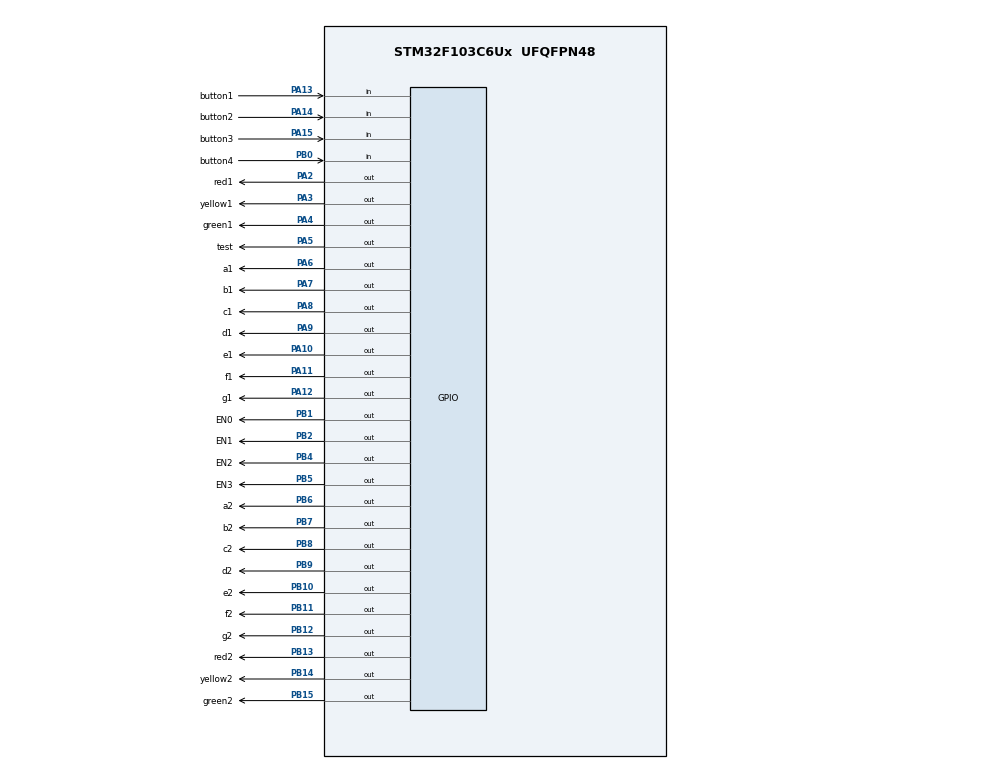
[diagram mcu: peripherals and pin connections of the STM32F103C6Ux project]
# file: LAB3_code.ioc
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Mcu.Family=STM32F1
Mcu.Name=STM32F103C6Ux
Mcu.Package=UFQFPN48
NVIC.PriorityGroup=NVIC_PRIORITYGROUP_4
NVIC.TIM2_IRQn=true\:0\:0\:false\:false\:true\:true\:true
PA10.GPIO_Label=e1
PA10.Signal=GPIO_Output
PA11.GPIO_Label=f1
PA11.Signal=GPIO_Output
PA12.GPIO_Label=g1
PA12.Signal=GPIO_Output
PA13.GPIO_Label=button1
PA13.GPIO_PuPd=GPIO_PULLUP
PA13.Signal=GPIO_Input
PA14.GPIO_Label=button2
PA14.GPIO_PuPd=GPIO_PULLUP
PA14.Signal=GPIO_Input
PA15.GPIO_Label=button3
PA15.GPIO_PuPd=GPIO_PULLUP
PA15.Signal=GPIO_Input
PA2.GPIO_Label=red1
PA2.Signal=GPIO_Output
PA3.GPIO_Label=yellow1
PA3.Signal=GPIO_Output
PA4.GPIO_Label=green1
PA4.Signal=GPIO_Output
PA5.GPIO_Label=test
PA5.Signal=GPIO_Output
PA6.GPIO_Label=a1
PA6.Signal=GPIO_Output
PA7.GPIO_Label=b1
PA7.Signal=GPIO_Output
PA8.GPIO_Label=c1
PA8.Signal=GPIO_Output
PA9.GPIO_Label=d1
PA9.Signal=GPIO_Output
PB0.GPIO_Label=button4
PB0.GPIO_PuPd=GPIO_PULLUP
PB0.Signal=GPIO_Input
PB1.GPIO_Label=EN0
PB1.Signal=GPIO_Output
PB10.GPIO_Label=e2
PB10.Signal=GPIO_Output
PB11.GPIO_Label=f2
PB11.Signal=GPIO_Output
PB12.GPIO_Label=g2
PB12.Signal=GPIO_Output
PB13.GPIO_Label=red2
PB13.Signal=GPIO_Output
PB14.GPIO_Label=yellow2
PB14.Signal=GPIO_Output
PB15.GPIO_Label=green2
PB15.Signal=GPIO_Output
PB2.GPIO_Label=EN1
PB2.Signal=GPIO_Output
PB4.GPIO_Label=EN2
PB4.Signal=GPIO_Output
PB5.GPIO_Label=EN3
PB5.Signal=GPIO_Output
PB6.GPIO_Label=a2
PB6.Signal=GPIO_Output
PB7.GPIO_Label=b2
PB7.Signal=GPIO_Output
PB8.GPIO_Label=c2
PB8.Signal=GPIO_Output
PB9.GPIO_Label=d2
PB9.Signal=GPIO_Output
ProjectManager.HeapSize=0x200
ProjectManager.StackSize=0x400
ProjectManager.TargetToolchain=STM32CubeIDE
RCC.APB1Freq_Value=8000000
RCC.APB2Freq_Value=8000000
TIM2.Period=9
TIM2.Prescaler=7999
VP_SYS_VS_ND.Mode=No_Debug
VP_TIM2_VS_ClockSourceINT.Mode=Internal
board=custom

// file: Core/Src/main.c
/* USER CODE BEGIN Header */
/**
  ******************************************************************************
  * @file           : main.c
  * @brief          : Main program body
  ******************************************************************************
  * @attention
  *
  * <h2><center>&copy; Copyright (c) 2024 STMicroelectronics.
  * All rights reserved.</center></h2>
  *
  * This software component is licensed by ST under BSD 3-Clause license,
  * the "License"; You may not use this file except in compliance with the
  * License. You may obtain a copy of the License at:
  *                        opensource.org/licenses/BSD-3-Clause
  *
  ******************************************************************************
  */
/* USER CODE END Header */
#include "main.h"

/* USER CODE BEGIN Includes */
#include "software_timer.h"
#include "button.h"
#include "7SEG.h"
#include "fsm_auto.h"
#include "fsm_manual.h"
/* USER CODE END Includes */

TIM_HandleTypeDef htim2;

void SystemClock_Config(void);
static void MX_GPIO_Init(void);
static void MX_TIM2_Init(void);

int main(void)
{

  /* MCU Configuration--------------------------------------------------------*/

  /* Reset of all peripherals, Initializes the Flash interface and the Systick. */
  HAL_Init();

  /* Configure the system clock */
  SystemClock_Config();

  /* Initialize all configured peripherals */
  MX_GPIO_Init();
  MX_TIM2_Init();
  /* USER CODE BEGIN 2 */
  HAL_TIM_Base_Start_IT(&htim2);
  /* USER CODE END 2 */

  /* Infinite loop */
  /* USER CODE BEGIN WHILE */
  setTimerTest(1000);
  setTimer7SEGCountHorizontal(1000);
  setTimer7SEGCountVertical(1000);
  setTimerENhorizontal(500);
  setTimerENvertical(500);

  while (1)
  {
	  if(timerTest_flag == 1)
	  {
		  HAL_GPIO_TogglePin(test_GPIO_Port, test_Pin);

		  setTimerTest(1000);
	  }

	  fsm_manual();

	  fsm_automatic();

	  display7SEGFinal();

    /* USER CODE END WHILE */

  }
}

void SystemClock_Config(void)
{
  RCC_OscInitTypeDef RCC_OscInitStruct = {0};
  RCC_ClkInitTypeDef RCC_ClkInitStruct = {0};

  /** Initializes the RCC Oscillators according to the specified parameters
  * in the RCC_OscInitTypeDef structure.
  */
  RCC_OscInitStruct.OscillatorType = RCC_OSCILLATORTYPE_HSI;
  RCC_OscInitStruct.HSIState = RCC_HSI_ON;
  RCC_OscInitStruct.HSICalibrationValue = RCC_HSICALIBRATION_DEFAULT;
  RCC_OscInitStruct.PLL.PLLState = RCC_PLL_NONE;
  if (HAL_RCC_OscConfig(&RCC_OscInitStruct) != HAL_OK)
  {
    Error_Handler();
  }
  /** Initializes the CPU, AHB and APB buses clocks
  */
  RCC_ClkInitStruct.ClockType = RCC_CLOCKTYPE_HCLK|RCC_CLOCKTYPE_SYSCLK
                              |RCC_CLOCKTYPE_PCLK1|RCC_CLOCKTYPE_PCLK2;
  RCC_ClkInitStruct.SYSCLKSource = RCC_SYSCLKSOURCE_HSI;
  RCC_ClkInitStruct.AHBCLKDivider = RCC_SYSCLK_DIV1;
  RCC_ClkInitStruct.APB1CLKDivider = RCC_HCLK_DIV1;
  RCC_ClkInitStruct.APB2CLKDivider = RCC_HCLK_DIV1;

  if (HAL_RCC_ClockConfig(&RCC_ClkInitStruct, FLASH_LATENCY_0) != HAL_OK)
  {
    Error_Handler();
  }
}

static void MX_TIM2_Init(void)
{

  TIM_ClockConfigTypeDef sClockSourceConfig = {0};
  TIM_MasterConfigTypeDef sMasterConfig = {0};

  htim2.Instance = TIM2;
  htim2.Init.Prescaler = 7999;
  htim2.Init.CounterMode = TIM_COUNTERMODE_UP;
  htim2.Init.Period = 9;
  htim2.Init.ClockDivision = TIM_CLOCKDIVISION_DIV1;
  htim2.Init.AutoReloadPreload = TIM_AUTORELOAD_PRELOAD_DISABLE;
  if (HAL_TIM_Base_Init(&htim2) != HAL_OK)
  {
    Error_Handler();
  }
  sClockSourceConfig.ClockSource = TIM_CLOCKSOURCE_INTERNAL;
  if (HAL_TIM_ConfigClockSource(&htim2, &sClockSourceConfig) != HAL_OK)
  {
    Error_Handler();
  }
  sMasterConfig.MasterOutputTrigger = TIM_TRGO_RESET;
  sMasterConfig.MasterSlaveMode = TIM_MASTERSLAVEMODE_DISABLE;
  if (HAL_TIMEx_MasterConfigSynchronization(&htim2, &sMasterConfig) != HAL_OK)
  {
    Error_Handler();
  }

}

static void MX_GPIO_Init(void)
{
  GPIO_InitTypeDef GPIO_InitStruct = {0};

  /* GPIO Ports Clock Enable */
  __HAL_RCC_GPIOA_CLK_ENABLE();
  __HAL_RCC_GPIOB_CLK_ENABLE();

  /*Configure GPIO pin Output Level */
  HAL_GPIO_WritePin(GPIOA, red1_Pin|yellow1_Pin|green1_Pin|test_Pin
                          |a1_Pin|b1_Pin|c1_Pin|d1_Pin
                          |e1_Pin|f1_Pin|g1_Pin, GPIO_PIN_RESET);

  /*Configure GPIO pin Output Level */
  HAL_GPIO_WritePin(GPIOB, EN0_Pin|EN1_Pin|e2_Pin|f2_Pin
                          |g2_Pin|red2_Pin|yellow2_Pin|green2_Pin
                          |EN2_Pin|EN3_Pin|a2_Pin|b2_Pin
                          |c2_Pin|d2_Pin, GPIO_PIN_RESET);

  /*Configure GPIO pins : red1_Pin yellow1_Pin green1_Pin test_Pin
                           a1_Pin b1_Pin c1_Pin d1_Pin
                           e1_Pin f1_Pin g1_Pin */
  GPIO_InitStruct.Pin = red1_Pin|yellow1_Pin|green1_Pin|test_Pin
                          |a1_Pin|b1_Pin|c1_Pin|d1_Pin
                          |e1_Pin|f1_Pin|g1_Pin;
  GPIO_InitStruct.Mode = GPIO_MODE_OUTPUT_PP;
  GPIO_InitStruct.Pull = GPIO_NOPULL;
  GPIO_InitStruct.Speed = GPIO_SPEED_FREQ_LOW;
  HAL_GPIO_Init(GPIOA, &GPIO_InitStruct);

  /*Configure GPIO pin : button4_Pin */
  GPIO_InitStruct.Pin = button4_Pin;
  GPIO_InitStruct.Mode = GPIO_MODE_INPUT;
  GPIO_InitStruct.Pull = GPIO_PULLUP;
  HAL_GPIO_Init(button4_GPIO_Port, &GPIO_InitStruct);

  /*Configure GPIO pins : EN0_Pin EN1_Pin e2_Pin f2_Pin
                           g2_Pin red2_Pin yellow2_Pin green2_Pin
                           EN2_Pin EN3_Pin a2_Pin b2_Pin
                           c2_Pin d2_Pin */
  GPIO_InitStruct.Pin = EN0_Pin|EN1_Pin|e2_Pin|f2_Pin
                          |g2_Pin|red2_Pin|yellow2_Pin|green2_Pin
                          |EN2_Pin|EN3_Pin|a2_Pin|b2_Pin
                          |c2_Pin|d2_Pin;
  GPIO_InitStruct.Mode = GPIO_MODE_OUTPUT_PP;
  GPIO_InitStruct.Pull = GPIO_NOPULL;
  GPIO_InitStruct.Speed = GPIO_SPEED_FREQ_LOW;
  HAL_GPIO_Init(GPIOB, &GPIO_InitStruct);

  /*Configure GPIO pins : button1_Pin button2_Pin button3_Pin */
  GPIO_InitStruct.Pin = button1_Pin|button2_Pin|button3_Pin;
  GPIO_InitStruct.Mode = GPIO_MODE_INPUT;
  GPIO_InitStruct.Pull = GPIO_PULLUP;
  HAL_GPIO_Init(GPIOA, &GPIO_InitStruct);

}

/* USER CODE BEGIN 4 */
void HAL_TIM_PeriodElapsedCallback(TIM_HandleTypeDef *htim)
{
	timerRun();
	getButton1();
	getButton2();
	getButton3();
	getButton4();
}
/* USER CODE END 4 */

void Error_Handler(void)
{
  __disable_irq();
  while (1)
  {
  }
}

/************************ (C) COPYRIGHT STMicroelectronics *****END OF FILE****/
